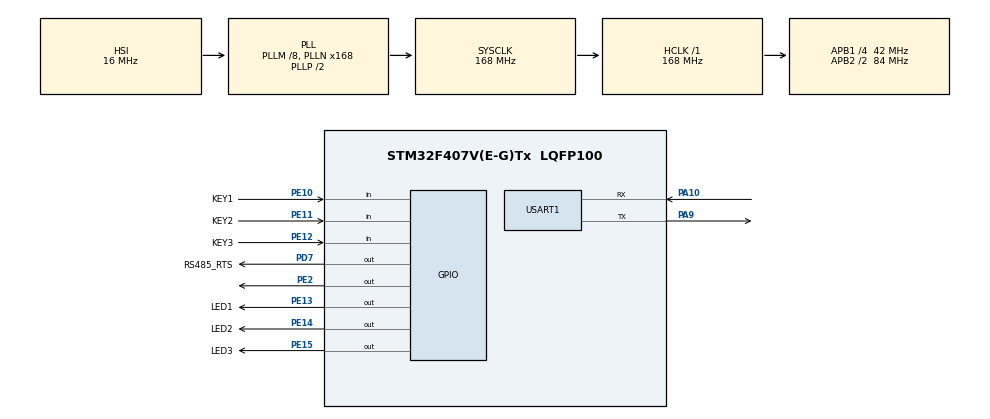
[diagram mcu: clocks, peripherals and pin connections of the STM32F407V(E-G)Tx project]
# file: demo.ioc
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Mcu.Family=STM32F4
Mcu.Name=STM32F407V(E-G)Tx
Mcu.Package=LQFP100
NVIC.PriorityGroup=NVIC_PRIORITYGROUP_4
NVIC.USART1_IRQn=true\:0\:0\:false\:false\:true\:true\:true\:true
PA10.Mode=Asynchronous
PA10.Signal=USART1_RX
PA13.Mode=Serial_Wire
PA13.Signal=SYS_JTMS-SWDIO
PA14.Mode=Serial_Wire
PA14.Signal=SYS_JTCK-SWCLK
PA9.Mode=Asynchronous
PA9.Signal=USART1_TX
PD5.Signal=USART2_TX
PD6.Signal=USART2_RX
PD7.GPIO_Label=RS485_RTS
PD7.GPIO_Speed=GPIO_SPEED_FREQ_HIGH
PD7.PinState=GPIO_PIN_SET
PD7.Signal=GPIO_Output
PE10.GPIO_Label=KEY1
PE10.Signal=GPIO_Input
PE11.GPIO_Label=KEY2
PE11.Signal=GPIO_Input
PE12.GPIO_Label=KEY3
PE12.Signal=GPIO_Input
PE13.GPIO_Label=LED1
PE13.Signal=GPIO_Output
PE14.GPIO_Label=LED2
PE14.Signal=GPIO_Output
PE15.GPIO_Label=LED3
PE15.Signal=GPIO_Output
PE2.Signal=GPIO_Output
PH0-OSC_IN.Mode=HSE-External-Oscillator
PH0-OSC_IN.Signal=RCC_OSC_IN
PH1-OSC_OUT.Mode=HSE-External-Oscillator
PH1-OSC_OUT.Signal=RCC_OSC_OUT
ProjectManager.HeapSize=0x2000
ProjectManager.StackSize=0x2000
ProjectManager.TargetToolchain=MDK-ARM V5
RCC.48MHZClocksFreq_Value=84000000
RCC.AHBFreq_Value=168000000
RCC.APB1CLKDivider=RCC_HCLK_DIV4
RCC.APB1Freq_Value=42000000
RCC.APB1TimFreq_Value=84000000
RCC.APB2CLKDivider=RCC_HCLK_DIV2
RCC.APB2Freq_Value=84000000
RCC.APB2TimFreq_Value=168000000
RCC.CortexFreq_Value=168000000
RCC.HCLKFreq_Value=168000000
RCC.HSE_VALUE=25000000
RCC.HSI_VALUE=16000000
RCC.LSE_VALUE=32768
RCC.PLLM=8
RCC.PLLN=168
RCC.SYSCLKFreq_VALUE=168000000
RCC.SYSCLKSource=RCC_SYSCLKSOURCE_PLLCLK
RCC.VCOOutputFreq_Value=336000000
USART1.VirtualMode=VM_ASYNC
board=custom

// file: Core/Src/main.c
/* USER CODE BEGIN Header */
/**
 ******************************************************************************
 * @file           : main.c
 * @brief          : Main program body
 ******************************************************************************
 * @attention
 *
 * Copyright (c) 2023 STMicroelectronics.
 * All rights reserved.
 *
 * This software is licensed under terms that can be found in the LICENSE file
 * in the root directory of this software component.
 * If no LICENSE file comes with this software, it is provided AS-IS.
 *
 ******************************************************************************
 */
/* USER CODE END Header */
#include "main.h"

/* USER CODE BEGIN Includes */
#include <stdio.h>
#include "shell.h"
/* USER CODE END Includes */

UART_HandleTypeDef huart1;

/* USER CODE BEGIN PV */
Shell shell;
char shellBuffer[4096];

/* USER CODE END PV */

void SystemClock_Config(void);
static void MX_GPIO_Init(void);
static void MX_USART1_UART_Init(void);

/* USER CODE BEGIN 0 */

short ShellWriteUsr(char *data, unsigned short len)
{
    return HAL_UART_Transmit(&huart1, (uint8_t*)data, len, 0xFF) == HAL_OK ? len : 0;
}

short ShellReadUsr(char *data, unsigned short len)
{
    return HAL_UART_Receive(&huart1, (uint8_t *)data, len, 0) == HAL_OK ? len : 0;
}

// 在 .map 中查找该函数的地址 + 1 / 或执行下方输出的地址
// sh: exec 0x00000000
void unexport_func(char* tag)
{
    printf("hello %s, unexport function: 0x%p\n", tag, unexport_func);
}

///////////////////// admin

SHELL_EXPORT_USER(SHELL_CMD_PERMISSION(11), admin, root, Administrator);

// sh: fn_c_fmt 666 'A' "hello world"

int fn_c_fmt(int num, char ch, char* str)
{
    printf("input int: %d, char: %c, string: %s\r\n", num, ch, str);

    return 666;
}

SHELL_EXPORT_CMD(SHELL_CMD_PERMISSION(0) | SHELL_CMD_TYPE(SHELL_TYPE_CMD_FUNC), fn_c_fmt, fn_c_fmt, c fmt func);

// sh: fn_main_fmt "hello world"

int fn_main_fmt(int argc, char* argv[])
{
    printf("%dparameter(s)\r\n", argc);
    for (char i = 1; i < argc; i++) {
        printf("%s\r\n", argv[i]);
    }

    return 123;
}

SHELL_EXPORT_CMD(SHELL_CMD_PERMISSION(0) | SHELL_CMD_TYPE(SHELL_TYPE_CMD_MAIN), fn_main_fmt, fn_main_fmt, main fmt func);

// sh: varInt , or setVar varInt 1

int var_int1 = 0;
SHELL_EXPORT_VAR(SHELL_CMD_PERMISSION(0) | SHELL_CMD_TYPE(SHELL_TYPE_VAR_INT), varInt1, &var_int1, int 1);

int var_int2 = 1;
SHELL_EXPORT_VAR(SHELL_CMD_PERMISSION(0) | SHELL_CMD_TYPE(SHELL_TYPE_VAR_INT) | SHELL_CMD_READ_ONLY, varInt2, &var_int2, int 2);  // 只读

int var_int3 = 1;
SHELL_EXPORT_VAR(SHELL_CMD_PERMISSION(1) | SHELL_CMD_TYPE(SHELL_TYPE_VAR_INT), varInt3, &var_int3, int 3);

// sh: varStr, or setVar varStr "hello"

char var_str[] = "test string";
SHELL_EXPORT_VAR(SHELL_CMD_PERMISSION(0) | SHELL_CMD_TYPE(SHELL_TYPE_VAR_STRING), varStr, var_str, str);

/* USER CODE END 0 */

int main(void)
{

  /* MCU Configuration--------------------------------------------------------*/

  /* Reset of all peripherals, Initializes the Flash interface and the Systick. */
  HAL_Init();

  /* Configure the system clock */
  SystemClock_Config();

  /* USER CODE BEGIN SysInit */
    __HAL_RCC_GPIOA_CLK_ENABLE();
    __HAL_RCC_GPIOB_CLK_ENABLE();
    __HAL_RCC_GPIOC_CLK_ENABLE();
    __HAL_RCC_GPIOD_CLK_ENABLE();
    __HAL_RCC_GPIOE_CLK_ENABLE();
  /* USER CODE END SysInit */

  /* Initialize all configured peripherals */
  MX_GPIO_Init();
  MX_USART1_UART_Init();
  /* USER CODE BEGIN 2 */

    shell.write = ShellWriteUsr;
    shell.read  = ShellReadUsr;
    shellInit(&shell, shellBuffer, sizeof(shellBuffer));

  /* USER CODE END 2 */

  /* Infinite loop */
  /* USER CODE BEGIN WHILE */
		unexport_func("uYanki");

    while (1)
    {
			shellTask(&shell); // 推荐使用 FreeRTOS + 串口FIFO(如有)
    /* USER CODE END WHILE */

    }
}

void SystemClock_Config(void)
{
  RCC_OscInitTypeDef RCC_OscInitStruct = {0};
  RCC_ClkInitTypeDef RCC_ClkInitStruct = {0};

  /** Configure the main internal regulator output voltage
  */
  __HAL_RCC_PWR_CLK_ENABLE();
  __HAL_PWR_VOLTAGESCALING_CONFIG(PWR_REGULATOR_VOLTAGE_SCALE1);

  /** Initializes the RCC Oscillators according to the specified parameters
  * in the RCC_OscInitTypeDef structure.
  */
  RCC_OscInitStruct.OscillatorType = RCC_OSCILLATORTYPE_HSI;
  RCC_OscInitStruct.HSIState = RCC_HSI_ON;
  RCC_OscInitStruct.HSICalibrationValue = RCC_HSICALIBRATION_DEFAULT;
  RCC_OscInitStruct.PLL.PLLState = RCC_PLL_ON;
  RCC_OscInitStruct.PLL.PLLSource = RCC_PLLSOURCE_HSI;
  RCC_OscInitStruct.PLL.PLLM = 8;
  RCC_OscInitStruct.PLL.PLLN = 168;
  RCC_OscInitStruct.PLL.PLLP = RCC_PLLP_DIV2;
  RCC_OscInitStruct.PLL.PLLQ = 4;
  if (HAL_RCC_OscConfig(&RCC_OscInitStruct) != HAL_OK)
  {
    Error_Handler();
  }

  /** Initializes the CPU, AHB and APB buses clocks
  */
  RCC_ClkInitStruct.ClockType = RCC_CLOCKTYPE_HCLK|RCC_CLOCKTYPE_SYSCLK
                              |RCC_CLOCKTYPE_PCLK1|RCC_CLOCKTYPE_PCLK2;
  RCC_ClkInitStruct.SYSCLKSource = RCC_SYSCLKSOURCE_PLLCLK;
  RCC_ClkInitStruct.AHBCLKDivider = RCC_SYSCLK_DIV1;
  RCC_ClkInitStruct.APB1CLKDivider = RCC_HCLK_DIV4;
  RCC_ClkInitStruct.APB2CLKDivider = RCC_HCLK_DIV2;

  if (HAL_RCC_ClockConfig(&RCC_ClkInitStruct, FLASH_LATENCY_5) != HAL_OK)
  {
    Error_Handler();
  }
}

static void MX_USART1_UART_Init(void)
{

  huart1.Instance = USART1;
  huart1.Init.BaudRate = 115200;
  huart1.Init.WordLength = UART_WORDLENGTH_8B;
  huart1.Init.StopBits = UART_STOPBITS_1;
  huart1.Init.Parity = UART_PARITY_NONE;
  huart1.Init.Mode = UART_MODE_TX_RX;
  huart1.Init.HwFlowCtl = UART_HWCONTROL_NONE;
  huart1.Init.OverSampling = UART_OVERSAMPLING_16;
  if (HAL_UART_Init(&huart1) != HAL_OK)
  {
    Error_Handler();
  }

}

static void MX_GPIO_Init(void)
{
  GPIO_InitTypeDef GPIO_InitStruct = {0};

  /* GPIO Ports Clock Enable */
  __HAL_RCC_GPIOE_CLK_ENABLE();
  __HAL_RCC_GPIOH_CLK_ENABLE();
  __HAL_RCC_GPIOA_CLK_ENABLE();
  __HAL_RCC_GPIOD_CLK_ENABLE();

  /*Configure GPIO pin Output Level */
  HAL_GPIO_WritePin(GPIOE, GPIO_PIN_2|LED1_Pin|LED2_Pin|LED3_Pin, GPIO_PIN_RESET);

  /*Configure GPIO pin Output Level */
  HAL_GPIO_WritePin(RS485_RTS_GPIO_Port, RS485_RTS_Pin, GPIO_PIN_SET);

  /*Configure GPIO pins : PE2 LED1_Pin LED2_Pin LED3_Pin */
  GPIO_InitStruct.Pin = GPIO_PIN_2|LED1_Pin|LED2_Pin|LED3_Pin;
  GPIO_InitStruct.Mode = GPIO_MODE_OUTPUT_PP;
  GPIO_InitStruct.Pull = GPIO_NOPULL;
  GPIO_InitStruct.Speed = GPIO_SPEED_FREQ_LOW;
  HAL_GPIO_Init(GPIOE, &GPIO_InitStruct);

  /*Configure GPIO pins : KEY1_Pin KEY2_Pin KEY3_Pin */
  GPIO_InitStruct.Pin = KEY1_Pin|KEY2_Pin|KEY3_Pin;
  GPIO_InitStruct.Mode = GPIO_MODE_INPUT;
  GPIO_InitStruct.Pull = GPIO_NOPULL;
  HAL_GPIO_Init(GPIOE, &GPIO_InitStruct);

  /*Configure GPIO pins : PD5 PD6 */
  GPIO_InitStruct.Pin = GPIO_PIN_5|GPIO_PIN_6;
  GPIO_InitStruct.Mode = GPIO_MODE_AF_PP;
  GPIO_InitStruct.Pull = GPIO_NOPULL;
  GPIO_InitStruct.Speed = GPIO_SPEED_FREQ_VERY_HIGH;
  GPIO_InitStruct.Alternate = GPIO_AF7_USART2;
  HAL_GPIO_Init(GPIOD, &GPIO_InitStruct);

  /*Configure GPIO pin : RS485_RTS_Pin */
  GPIO_InitStruct.Pin = RS485_RTS_Pin;
  GPIO_InitStruct.Mode = GPIO_MODE_OUTPUT_PP;
  GPIO_InitStruct.Pull = GPIO_NOPULL;
  GPIO_InitStruct.Speed = GPIO_SPEED_FREQ_HIGH;
  HAL_GPIO_Init(RS485_RTS_GPIO_Port, &GPIO_InitStruct);

}

/* USER CODE BEGIN 4 */

int fputc(int ch, FILE* f)
{
    if (ch == '\n')
    {
        HAL_UART_Transmit(&huart1, (uint8_t*)"\r", 1, 0xFF);
    }

    HAL_UART_Transmit(&huart1, (uint8_t*)&ch, 1, 0xFF);

    return (ch);
}

int fgetc(FILE* f)
{
    uint8_t ch = '\0';
    HAL_UART_Receive(&huart1, &ch, 1, 0xFF);
    return ch;
}

void putchar_(char ch)
{
    HAL_UART_Transmit(&huart1, (uint8_t*)&ch, 1, 0xFF);
}

/* USER CODE END 4 */

void Error_Handler(void)
{
    __disable_irq();
    while (1)
    {
    }
}

#ifdef  USE_FULL_ASSERT
/**
  * @brief  Reports the name of the source file and the source line number
  *         where the assert_param error has occurred.
  * @param  file: pointer to the source file name
  * @param  line: assert_param error line source number
  * @retval None
  */
void assert_failed(uint8_t *file, uint32_t line)
{
  /* USER CODE BEGIN 6 */
    /* User can add his own implementation to report the file name and line number,
       ex: PRINTF("Wrong parameters value: file %s on line %d\r\n", file, line) */
  /* USER CODE END 6 */
}
#endif /* USE_FULL_ASSERT */
